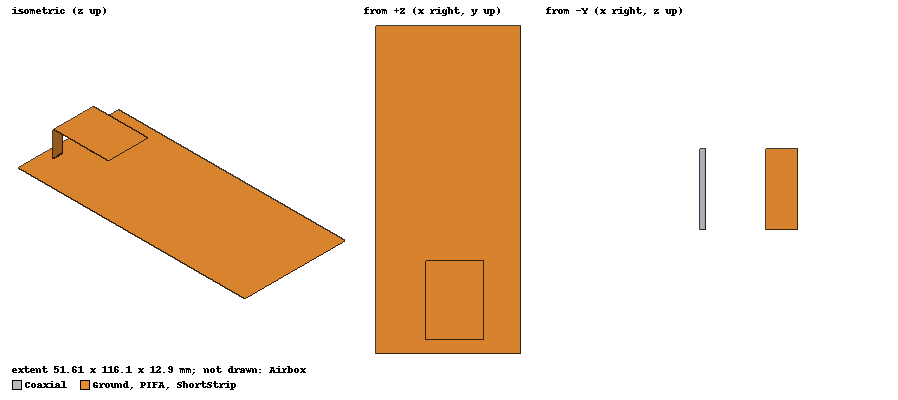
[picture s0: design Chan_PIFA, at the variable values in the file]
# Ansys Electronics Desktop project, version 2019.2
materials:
  vacuum: permittivity=1
  pec: conductivity=1e+30

design Chan_PIFA (HFSS, DrivenModal, model units mm)
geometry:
  Airbox [vacuum] = box(corner=(-44.3mm, -24.15mm, 0mm), size=(137.16mm, 186.53mm, 32.9mm))
  Ground [pec] = rectangle(corner=(-25.805mm, -5mm, 0mm), x_size=51.61mm, y_size=116.13mm)
  Ground_substract = circle(normal=Z, centre=(-2mm, 7mm, 0mm), radius=1.7907mm)
  Ground.subtract(Ground_substract)
  Coaxial [pec] = cylinder(axis=Z, base_centre=(-2mm, 7mm, 0mm), radius=0.4559mm, height=12.9mm)
  PIFA = rectangle(corner=(-7.905mm, 0mm, 12.9mm), x_size=20.35mm, y_size=28mm)
  ShortStrip = rectangle(corner=(7.905mm, 0mm, 0mm), z_size=12.9mm, x_size=5mm)
  Waveport = circle(normal=Z, centre=(-2mm, 7mm, 0mm), radius=1.7907mm)
  Waveport_substract = circle(normal=Z, centre=(-2mm, 7mm, 0mm), radius=0.4559mm)
  Waveport.subtract(Waveport_substract)
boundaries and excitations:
  PerfE1: Perfect E Objects=Ground
  PerfE2: Perfect E Objects=ShortStrip
  PerfE3: Perfect E Objects=PIFA
  Rad1: Radiation Faces=Airbox.face(+y, -x, -y, +x, +z)
  1: Wave Port Objects=Waveport NumModes=1 Modes{Mode1{CharImp=Zpi RenormImp=50ohm}}
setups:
  Setup1: HfssDriven Frequency=1GHz MaxDeltaS=0.02 MaximumPasses=20 MinimumPasses=1 MinimumConvergedPasses=1 PercentRefinement=30 disabled BasisOrder=1 PortAccuracy=2
    sweep Sweep: 0.2GHz to 1.6GHz step 0.01GHz; disabled Type=Fast SaveFields
  1_7_PIFA: HfssDriven Frequency=1.7GHz MaxDeltaS=0.02 MaximumPasses=20 MinimumPasses=1 MinimumConvergedPasses=1 PercentRefinement=30 BasisOrder=1 PortAccuracy=2
    sweep Sweep: 0.7GHz to 2.3GHz step 0.01GHz; Type=Fast SaveFields
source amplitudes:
  1:1: 1W 0deg
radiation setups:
  Infinite Sphere1: Infinite Sphere Theta=-180deg..180deg step 1deg Phi=0deg..360deg step 10deg
  1_7G: Infinite Sphere Theta=0deg..180deg step 1deg Phi=-180deg..180deg step 20deg
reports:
  S Parameter Plot 1: dB(S(1,1)) vs Freq on 1_7_PIFA : Sweep
  VSWR Plot 1: VSWR(1) vs Freq on 1_7_PIFA : Sweep
  Z Parameter Plot 1: dB20(Z(1,1)) vs Freq on 1_7_PIFA : Sweep
  Z Parameter Plot 2: re(Z(1,1)), re(Z(1,1)), im(Z(1,1)) vs Freq on 1_7_PIFA : Sweep
  rE Plot 1: dB(rEPhi), dB(rETheta) vs Phi on 1_7_PIFA : Sweep, Infinite Sphere1 [Theta=90deg Freq=1.75GHz]
